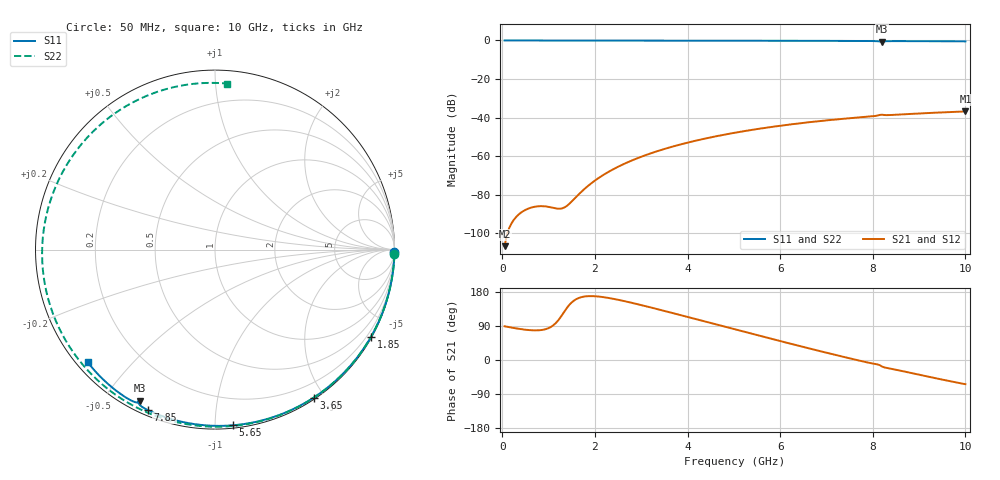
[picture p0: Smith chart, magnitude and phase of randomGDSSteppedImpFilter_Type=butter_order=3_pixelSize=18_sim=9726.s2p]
! freq	dB(S11)	phase(S11)	dB(S12)	phase(S12)
!  dB(S21)	phase(S21)	dB(S22)	phase(S22)
!S-par simulation data
#  GHz  S  DB  R 50
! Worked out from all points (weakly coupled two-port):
!   200 points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, 50 MHz to 10 GHz, reference 50 ohm
!   highest |S21| = -36.82 dB at 10 GHz (marker M1); lowest = -106.7 dB at 50 MHz (marker M2)
!   lowest |S11| = -0.6 dB at 8.2 GHz (marker M3), VSWR 31.50, Z = 2.2 - j31 ohm
!   |S11| at or under -10 dB: nowhere
!   |S22| runs from -0.7 to 0.0 dB; largest |S21 - S12| = 0
!   S11 on the Smith chart (normalised r, x): 50 MHz: open; 1.85 GHz: 0.03, -3.84; 3.65 GHz: 0.02, -1.87; 5.65 GHz: 0.02, -1.11; 7.85 GHz: 0.02, -0.66; 10 GHz: 0.03, -0.38
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0.05  -0.00 -0.8  -106.70 89.1  -106.70 89.1  -0.00 -1.5
0.8  -0.02 -12.7  -85.97 78.5  -85.97 78.5  -0.03 -24.0
1.6  -0.03 -25.3  -81.06 160.8  -81.06 160.8  -0.06 -47.4
1.65  -0.03 -26.1  -79.85 163.6  -79.85 163.6  -0.06 -48.8
1.75  -0.04 -27.7  -77.56 167.0  -77.56 167.0  -0.06 -51.7
1.85  -0.04 -29.2  -75.47 168.5  -75.47 168.5  -0.07 -54.5
2.15  -0.04 -33.8  -70.24 166.4  -70.24 166.4  -0.08 -62.9
2.5  -0.05 -39.2  -65.51 158.9  -65.51 158.9  -0.09 -72.5
2.9  -0.06 -45.2  -61.25 147.9  -61.25 147.9  -0.10 -83.3
3.4  -0.07 -52.6  -57.02 132.7  -57.02 132.7  -0.12 -96.4
3.65  -0.08 -56.3  -55.23 124.8  -55.23 124.8  -0.13 -102.8
4.3  -0.09 -65.6  -51.31 104.0  -51.31 104.0  -0.16 -119.2
5.05  -0.12 -76.1  -47.74 80.0  -47.74 80.0  -0.20 -137.7
5.65  -0.14 -84.2  -45.42 60.9  -45.42 60.9  -0.24 -152.3
6.2  -0.16 -91.5  -43.62 43.7  -43.62 43.7  -0.28 -165.9
6.7  -0.19 -98.0  -42.21 28.3  -42.21 28.3  -0.32 -178.4
7.3  -0.23 -105.7  -40.77 10.3  -40.77 10.3  -0.37 166.1
7.85  -0.27 -112.8  -39.64 -5.5  -39.64 -5.5  -0.43 151.3
8.2  -0.55 -116.3  -38.53 -17.3  -38.53 -17.3  -0.46 141.5
8.35  -0.35 -118.0  -38.70 -21.9  -38.70 -21.9  -0.48 137.2
9.25  -0.39 -129.4  -37.58 -45.3  -37.58 -45.3  -0.58 110.1
10  -0.47 -138.6  -36.82 -63.9  -36.82 -63.9  -0.66 85.7
